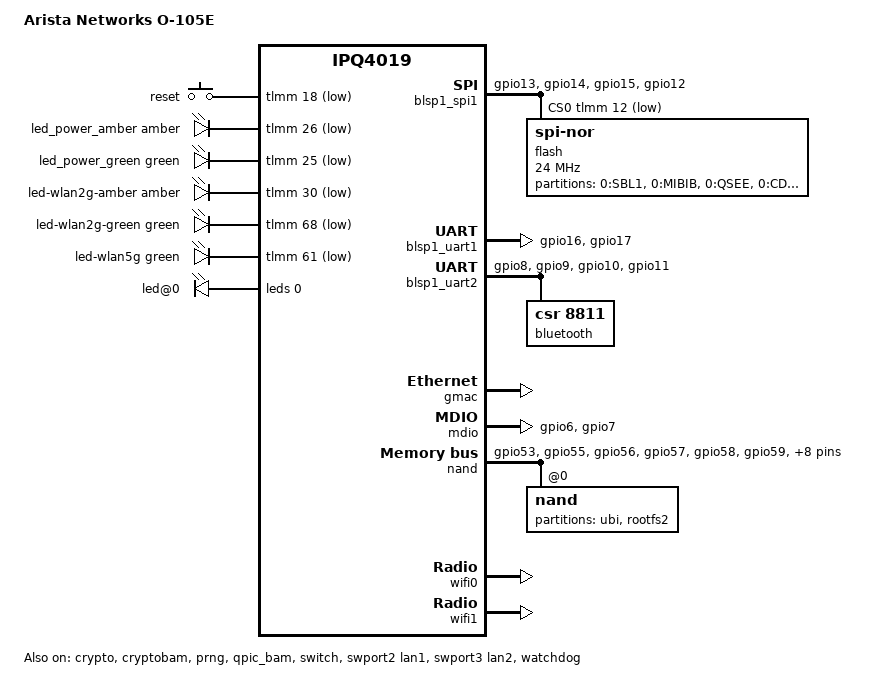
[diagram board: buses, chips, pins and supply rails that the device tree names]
// SPDX-License-Identifier: GPL-2.0-only OR MIT

#include <dt-bindings/gpio/gpio.h>
#include <dt-bindings/input/input.h>
#include <dt-bindings/leds/common.h>
#include <dt-bindings/soc/qcom,tcsr.h>

#include "qcom-ipq4019.dtsi"

/ {
	model = "Arista Networks O-105E";
	compatible = "arista,o-105e";

	aliases {
		ethernet0 = &gmac;
		label-mac-device = &gmac;
		led-boot = &led_power_green;
		led-failsafe = &led_power_amber;
		led-running = &led_power_green;
		led-upgrade = &led_power_amber;
		serial0 = &blsp1_uart1;
		serial1 = &blsp1_uart2;
	};

	chosen {
		bootargs-append = " ubi.mtd=ubi root=/dev/ubiblock0_1";
		stdout-path = "serial0:115200n8";
	};

	keys {
		compatible = "gpio-keys";

		button-reset {
			label = "reset";
			gpios = <&tlmm 18 GPIO_ACTIVE_LOW>;
			linux,code = <KEY_RESTART>;
		};
	};

	leds {
		compatible = "gpio-leds";

		led_power_amber: led-power-amber {
			color = <LED_COLOR_ID_AMBER>;
			function = LED_FUNCTION_POWER;
			gpios = <&tlmm 26 GPIO_ACTIVE_LOW>;
			panic-indicator;
		};

		led_power_green: led-power-green {
			color = <LED_COLOR_ID_GREEN>;
			function = LED_FUNCTION_POWER;
			gpios = <&tlmm 25 GPIO_ACTIVE_LOW>;
		};

		led-wlan2g-amber {
			color = <LED_COLOR_ID_AMBER>;
			function = LED_FUNCTION_WLAN_2GHZ;
			gpios = <&tlmm 30 GPIO_ACTIVE_LOW>;
		};

		led-wlan2g-green {
			color = <LED_COLOR_ID_GREEN>;
			function = LED_FUNCTION_WLAN_2GHZ;
			gpios = <&tlmm 68 GPIO_ACTIVE_LOW>;
			linux,default-trigger = "phy0tpt";
		};

		led-wlan5g {
			color = <LED_COLOR_ID_GREEN>;
			function = LED_FUNCTION_WLAN_5GHZ;
			gpios = <&tlmm 61 GPIO_ACTIVE_LOW>;
			linux,default-trigger = "phy1tpt";
		};
	};

	soc {
		tcsr@1949000 {
			compatible = "qcom,tcsr";
			reg = <0x1949000 0x100>;
			qcom,wifi_glb_cfg = <TCSR_WIFI_GLB_CFG>;
		};

		tcsr@194b000 {
			compatible = "qcom,tcsr";
			reg = <0x194b000 0x100>;
			qcom,usb-hsphy-mode-select = <TCSR_USB_HSPHY_HOST_MODE>;
		};

		ess_tcsr@1953000 {
			compatible = "qcom,tcsr";
			reg = <0x1953000 0x1000>;
			qcom,ess-interface-select = <TCSR_ESS_PSGMII>;
		};

		tcsr@1957000 {
			compatible = "qcom,tcsr";
			reg = <0x1957000 0x100>;
			qcom,wifi_noc_memtype_m0_m2 = <TCSR_WIFI_NOC_MEMTYPE_M0_M2>;
		};
	};
};

&blsp_dma {
	status = "okay";
};

&blsp1_spi1 {
	status ="okay";

	cs-gpios = <&tlmm 12 GPIO_ACTIVE_LOW>;
	pinctrl-0 = <&spi1_pins>;
	pinctrl-names = "default";

	flash@0 {
		compatible = "jedec,spi-nor";
		reg = <0>;
		spi-max-frequency = <24000000>;
		#address-cells = <1>;
		#size-cells = <1>;

		partitions {
			compatible = "fixed-partitions";
			#address-cells = <1>;
			#size-cells = <1>;

			partition@0 {
				label = "0:SBL1";
				reg = <0x0000000 0x0040000>;
				read-only;
			};

			partition@40000 {
				label = "0:MIBIB";
				reg = <0x0040000 0x0020000>;
				read-only;
			};

			partition@60000 {
				label = "0:QSEE";
				reg = <0x0060000 0x0060000>;
				read-only;
			};

			partition@c0000 {
				label = "0:CDT";
				reg = <0x00c0000 0x0010000>;
				read-only;
			};

			partition@d0000 {
				label = "0:DDRPARAMS";
				reg = <0x00d0000 0x0010000>;
				read-only;
			};

			partition@e0000 {
				label = "0:APPSBL";
				reg = <0x00e0000 0x0080000>;
				read-only;
			};

			partition@160000 {
				label = "0:APPSBLENV";
				reg = <0x0160000 0x0010000>;

				nvmem-layout {
					compatible = "u-boot,env";
				};
			};

			partition@170000 {
				label = "0:ART";
				reg = <0x0170000 0x0010000>;
				read-only;

				nvmem-layout {
					compatible = "fixed-layout";
					#address-cells = <1>;
					#size-cells = <1>;

					macaddr_art_0: macaddr@0 {
						reg = <0x0 0x6>;
					};

					macaddr_art_6: macaddr@6 {
						reg = <0x6 0x6>;
					};

					serial-number@30 {
						reg = <0x30 0xd>;
					};

					precal_art_1000: precal@1000 {
						reg = <0x1000 0x2f20>;
					};

					precal_art_5000: precal@5000 {
						reg = <0x5000 0x2f20>;
					};
				};
			};

			partition@180000 {
				label = "0:HLOS";
				reg = <0x0180000 0x0500000>;
			};

			partition@680000 {
				label = "0:HLOS1";
				reg = <0x0680000 0x0500000>;
			};

			partition@b80000 {
				label = "0:UCONFIG";
				reg = <0x0b80000 0x0400000>;
			};

			partition@f80000 {
				label = "PANIC";
				reg = <0x0f80000 0x0010000>;
			};

			partition@f90000 {
				label = "RESERVED:0";
				reg = <0x0f90000 0x0010000>;
			};

			partition@fa0000 {
				label = "RESERVED:1";
				reg = <0x0fa0000 0x1060000>;
			};
		};
	};
};

&blsp1_uart1 {
	status = "okay";

	pinctrl-0 = <&uart1_pins>;
	pinctrl-names = "default";
};

&blsp1_uart2 {
	status = "okay";

	pinctrl-0 = <&uart2_pins>;
	pinctrl-names = "default";

	bluetooth {
		compatible = "csr,8811";
	};
};

&crypto {
	status = "okay";
};

&cryptobam {
	status = "okay";
};

&ethphy0 {
	status = "disabled";
};

&ethphy1 {
	reg = <0x19>;
};

&ethphy2 {
	reg = <0x1a>;

	leds {
		#address-cells = <1>;
		#size-cells = <0>;

		led@0 {
			reg = <0>;
			color = <LED_COLOR_ID_GREEN>;
			function = LED_FUNCTION_LAN;
			function-enumerator = <2>;
			default-state = "keep";
		};
	};
};

&ethphy3 {
	status = "disabled";
};

&ethphy4 {
	status = "disabled";
};

&gmac {
	status = "okay";
};

&mdio {
	status = "okay";

	pinctrl-0 = <&mdio_pins>;
	pinctrl-names = "default";
};

&nand {
	status = "okay";

	pinctrl-0 = <&nand_pins>;
	pinctrl-names = "default";

	nand@0 {
		reg = <0>;
		nand-ecc-strength = <4>;
		nand-bus-width = <8>;

		partitions {
			compatible = "fixed-partitions";
			#address-cells = <1>;
			#size-cells = <1>;

			partition@0 {
				label = "ubi";
				reg = <0x0 0x4000000>;
			};

			partition@4000000 {
				label = "rootfs2";
				reg = <0x4000000 0x4000000>;
			};
		};
	};
};

&prng {
	status = "okay";
};

&psgmiiphy {
	reg = <0x1d>;
};

&qpic_bam {
	status = "okay";
};

&switch {
	status = "okay";
};

&swport2 {
	status = "okay";

	label = "lan1";
	nvmem-cell-names = "mac-address";
	nvmem-cells = <&macaddr_art_0>;
};

&swport3 {
	status = "okay";

	label = "lan2";
	nvmem-cell-names = "mac-address";
	nvmem-cells = <&macaddr_art_6>;
};

&tlmm {
	mdio_pins: mdio-pinmux {
		mdio-pins {
			pins = "gpio6";
			function = "mdio";
			bias-pull-up;
		};

		mdc-pins {
			pins = "gpio7";
			function = "mdc";
			bias-pull-up;
		};
	};

	nand_pins: nand-pins {
		pins = "gpio53", "gpio55", "gpio56", "gpio57", "gpio58",
		       "gpio59", "gpio60", "gpio62", "gpio63", "gpio64",
		       "gpio65", "gpio66", "gpio67", "gpio69";
		function = "qpic";
	};

	spi1_pins: spi1-pinmux {
		spi1-pins {
			pins = "gpio13", "gpio14", "gpio15";
			function = "blsp_spi0";
			bias-disable;
		};
		spi1-cs-pins {
			pins = "gpio12";
			function = "gpio";
			bias-disable;
			output-high;
		};
	};

	uart1_pins: uart1-pins {
		pins = "gpio16", "gpio17";
		function = "blsp_uart0";
		bias-disable;
	};

	uart2_pins: uart2-pins {
		pins = "gpio8", "gpio9", "gpio10", "gpio11";
		function = "blsp_uart1";
		bias-disable;
	};
};

&watchdog {
	status = "okay";
};

&wifi0 {
	status = "okay";

	nvmem-cells = <&precal_art_1000>;
	nvmem-cell-names = "pre-calibration";
	qcom,ath10k-calibration-variant = "Arista-O-105E";
};

&wifi1 {
	status = "okay";

	nvmem-cells = <&precal_art_5000>;
	nvmem-cell-names = "pre-calibration";
	qcom,ath10k-calibration-variant = "Arista-O-105E";
};
